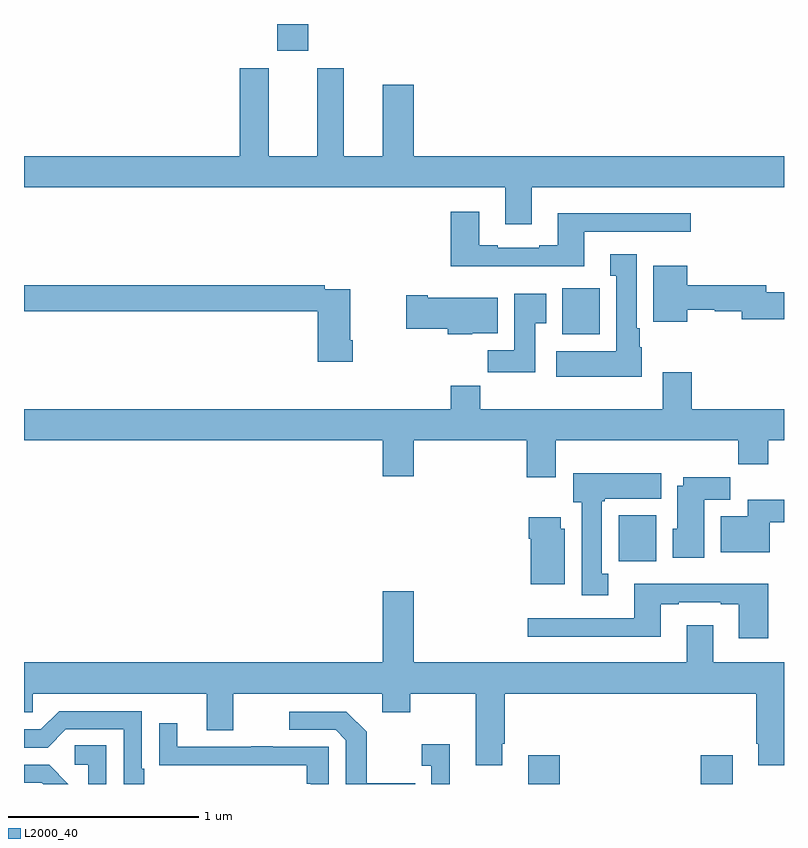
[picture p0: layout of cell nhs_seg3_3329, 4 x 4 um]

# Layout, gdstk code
import gdstk
lib = gdstk.Library(unit=1e-6, precision=1e-09)
def R(c, l, rs):  # rectangles x0, y0, x1, y1
    for r in rs: c.add(gdstk.rectangle(r[:2], r[2:], *l))
def P(c, l, *ps):  # polygons
    for p in ps: c.add(gdstk.Polygon(p, *l))
L2000_40 = (2000, 40)

nhs_seg3_3329 = lib.new_cell('nhs_seg3_3329')
R(nhs_seg3_3329, L2000_40, [(285.653,740.4,285.821,740.551), (286.562,740.4,286.729,740.551), (286.13,741.572,286.327,741.814), (285.833,742.766,286.03,743.008), (284.333,744.258,284.497,744.4)])
P(nhs_seg3_3329, L2000_40, [(285.673,743.54),(287,743.54),(287,743.704),(285.052,743.704),(285.052,744.079),(284.888,744.079),(284.888,743.704),(284.683,743.704),(284.683,744.166),(284.543,744.166),(284.543,743.704),(284.287,743.704),(284.287,744.166),(284.135,744.166),(284.135,743.704),(283,743.704),(283,743.54),(285.533,743.54),(285.533,743.346),(285.673,743.346)],
  [(285.949,743.307),(286.51,743.307),(286.51,743.404),(285.809,743.404),(285.809,743.236),(285.713,743.236),(285.713,743.223),(285.493,743.223),(285.493,743.236),(285.397,743.236),(285.397,743.413),(285.245,743.413),(285.245,743.126),(285.949,743.126)],
  [(286.252,742.698),(286.24,742.698),(286.24,742.798),(286.225,742.798),(286.225,743.188),(286.085,743.188),(286.085,743.075),(286.118,743.075),(286.118,742.678),(285.801,742.678),(285.801,742.544),(286.252,742.544)],
  [(286.492,742.896),(286.635,742.896),(286.635,742.888),(286.778,742.888),(286.778,742.846),(287,742.846),(287,742.988),(286.906,742.988),(286.906,743.024),(286.492,743.024),(286.492,743.128),(286.313,743.128),(286.313,742.832),(286.492,742.832)],
  [(284.729,742.735),(284.716,742.735),(284.716,743.004),(284.582,743.004),(284.582,743.024),(283,743.024),(283,742.888),(284.546,742.888),(284.546,742.623),(284.729,742.623)],
  [(285.691,742.825),(285.748,742.825),(285.748,742.981),(285.581,742.981),(285.581,742.684),(285.442,742.684),(285.442,742.566),(285.691,742.566)],
  [(285.36,742.772),(285.493,742.772),(285.493,742.96),(285.124,742.96),(285.124,742.973),(285.012,742.973),(285.012,742.795),(285.23,742.795),(285.23,742.766),(285.36,742.766)],
  [(285.799,742.208),(286.759,742.208),(286.759,742.084),(286.916,742.084),(286.916,742.208),(287,742.208),(287,742.372),(286.514,742.372),(286.514,742.567),(286.361,742.567),(286.361,742.372),(285.401,742.372),(285.401,742.496),(285.245,742.496),(285.245,742.372),(283,742.372),(283,742.208),(284.888,742.208),(284.888,742.02),(285.052,742.02),(285.052,742.208),(285.647,742.208),(285.647,742.014),(285.799,742.014)],
  [(286.075,741.506),(286.042,741.506),(286.042,741.889),(286.056,741.889),(286.056,741.902),(286.354,741.902),(286.354,742.036),(285.89,742.036),(285.89,741.882),(285.935,741.882),(285.935,741.393),(286.075,741.393)],
  [(286.579,741.896),(286.718,741.896),(286.718,742.015),(286.469,742.015),(286.469,741.97),(286.439,741.97),(286.439,741.744),(286.415,741.744),(286.415,741.59),(286.579,741.59)],
  [(286.926,741.778),(287,741.778),(287,741.896),(286.808,741.896),(286.808,741.808),(286.667,741.808),(286.667,741.62),(286.926,741.62)],
  [(285.847,741.744),(285.826,741.744),(285.826,741.805),(285.656,741.805),(285.656,741.692),(285.668,741.692),(285.668,741.452),(285.847,741.452)],
  [(286.916,741.454),(286.211,741.454),(286.211,741.273),(285.651,741.273),(285.651,741.176),(286.351,741.176),(286.351,741.345),(286.447,741.345),(286.447,741.357),(286.667,741.357),(286.667,741.345),(286.763,741.345),(286.763,741.168),(286.916,741.168)],
  [(285.517,740.611),(285.53,740.611),(285.53,740.876),(286.853,740.876),(286.853,740.611),(286.865,740.611),(286.865,740.499),(287,740.499),(287,741.04),(286.627,741.04),(286.627,741.235),(286.487,741.235),(286.487,741.04),(285.052,741.04),(285.052,741.415),(284.888,741.415),(284.888,741.04),(283,741.04),(283,740.778),(283.047,740.778),(283.047,740.876),(283.961,740.876),(283.961,740.682),(284.101,740.682),(284.101,740.876),(284.885,740.876),(284.885,740.777),(285.033,740.777),(285.033,740.876),(285.377,740.876),(285.377,740.499),(285.517,740.499)],
  [(283.633,740.479),(283.62,740.479),(283.62,740.784),(283.185,740.784),(283.089,740.688),(283,740.688),(283,740.592),(283.125,740.592),(283.221,740.688),(283.524,740.688),(283.524,740.4),(283.633,740.4)],
  [(285.059,740.403),(284.803,740.403),(284.803,740.675),(284.697,740.781),(284.397,740.781),(284.397,740.685),(284.64,740.685),(284.694,740.631),(284.694,740.4),(285.059,740.4)],
  [(284.604,740.595),(284.309,740.595),(284.309,740.6),(284.197,740.6),(284.197,740.595),(283.807,740.595),(283.807,740.719),(283.711,740.719),(283.711,740.5),(283.813,740.5),(283.813,740.499),(284.488,740.499),(284.488,740.402),(284.508,740.402),(284.508,740.4),(284.604,740.4)],
  [(285.242,740.608),(285.093,740.608),(285.093,740.495),(285.144,740.495),(285.144,740.4),(285.242,740.4)],
  [(283.434,740.603),(283.266,740.603),(283.266,740.502),(283.338,740.502),(283.338,740.4),(283.434,740.4)],
  [(283.132,740.502),(283,740.502),(283,740.406),(283.094,740.406),(283.1,740.4),(283.234,740.4)])

lib.write_gds('nhs_seg3_3329.gds')
